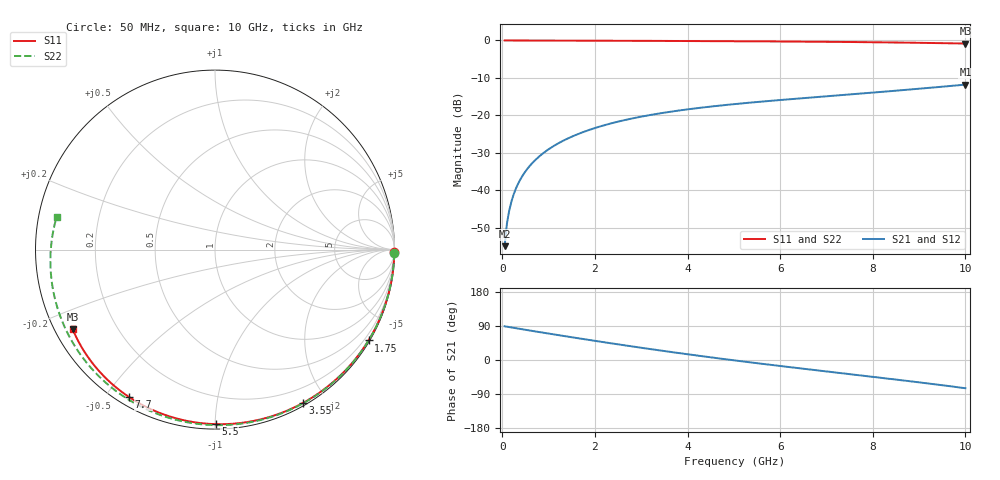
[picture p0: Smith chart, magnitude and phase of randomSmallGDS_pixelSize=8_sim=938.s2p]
! freq	dB(S11)	phase(S11)	dB(S12)	phase(S12)
!  dB(S21)	phase(S21)	dB(S22)	phase(S22)
!S-par simulation data
#  GHz  S  DB  R 50
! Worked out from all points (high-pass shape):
!   200 points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, 50 MHz to 10 GHz, reference 50 ohm
!   highest |S21| = -11.78 dB at 10 GHz (marker M1); lowest = -54.9 dB at 50 MHz (marker M2)
!   |S21| within 3 dB of the highest: 7.119 GHz to end of sweep
!   lowest |S11| = -0.8 dB at 10 GHz (marker M3), VSWR 20.89, Z = 2.56 - j13 ohm
!   |S11| at or under -10 dB: nowhere
!   |S22| runs from -0.9 to 0.0 dB; largest |S21 - S12| = 0
!   S11 on the Smith chart (normalised r, x): 50 MHz: open; 1.75 GHz: 0.04, -3.65; 3.55 GHz: 0.03, -1.72; 5.5 GHz: 0.03, -1.00; 7.7 GHz: 0.03, -0.57; 10 GHz: 0.05, -0.26
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0.05  -0.01 -0.9  -54.86 89.0  -54.86 89.0  -0.01 -1.1
0.1  -0.01 -1.8  -48.84 87.9  -48.84 87.9  -0.01 -2.2
0.15  -0.01 -2.7  -45.32 86.9  -45.32 86.9  -0.01 -3.4
0.2  -0.01 -3.6  -42.82 85.8  -42.82 85.8  -0.01 -4.5
0.25  -0.01 -4.4  -40.89 84.8  -40.89 84.8  -0.01 -5.6
0.35  -0.01 -6.2  -37.98 82.7  -37.98 82.7  -0.01 -7.8
0.5  -0.01 -8.9  -34.91 79.7  -34.91 79.7  -0.02 -11.2
0.7  -0.02 -12.4  -32.04 75.7  -32.04 75.7  -0.02 -15.6
1  -0.03 -17.7  -29.02 69.7  -29.02 69.7  -0.03 -22.2
1.35  -0.04 -23.7  -26.52 62.9  -26.52 62.9  -0.05 -29.8
1.75  -0.05 -30.6  -24.42 55.3  -24.42 55.3  -0.06 -38.5
2.6  -0.09 -44.9  -21.36 39.5  -21.36 39.5  -0.10 -56.2
3.4  -0.12 -57.9  -19.45 25.3  -19.45 25.3  -0.14 -72.3
3.55  -0.13 -60.3  -19.16 22.7  -19.16 22.7  -0.15 -75.2
4.3  -0.17 -72.0  -17.92 10.3  -17.92 10.3  -0.19 -89.5
5.05  -0.21 -83.2  -16.93 -1.6  -16.93 -1.6  -0.24 -103.2
5.5  -0.24 -89.8  -16.42 -8.4  -16.42 -8.4  -0.27 -111.3
6.7  -0.33 -106.7  -15.19 -25.9  -15.19 -25.9  -0.38 -132.2
7.7  -0.44 -120.3  -14.21 -40.1  -14.21 -40.1  -0.49 -149.5
8.35  -0.52 -128.9  -13.56 -49.4  -13.56 -49.4  -0.59 -160.9
9.2  -0.66 -140.2  -12.66 -62.0  -12.66 -62.0  -0.73 -176.3
10  -0.83 -150.9  -11.78 -74.5  -11.78 -74.5  -0.91 168.3
